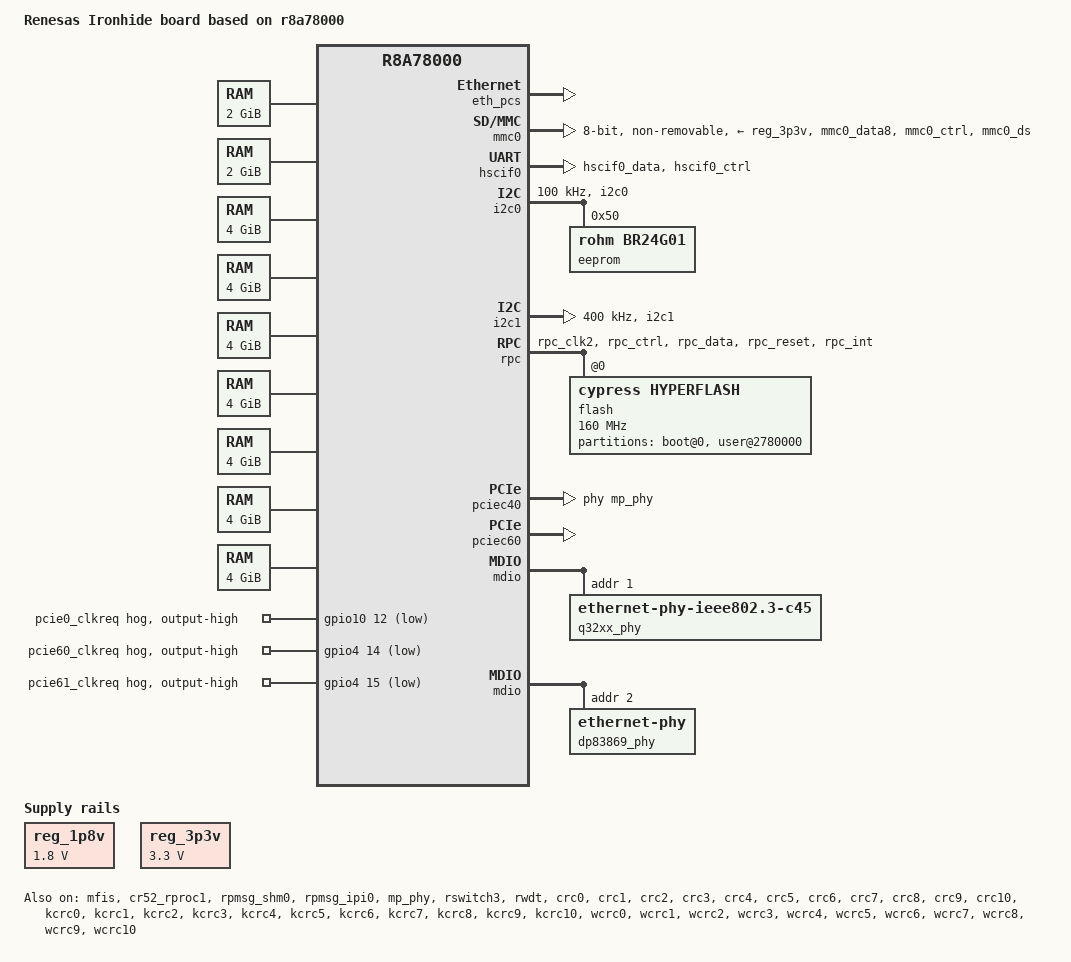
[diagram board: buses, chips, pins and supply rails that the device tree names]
// SPDX-License-Identifier: (GPL-2.0-only OR BSD-2-Clause)
/*
 * Device Tree Source for the Ironhide board
 *
 * Copyright (C) 2025 Renesas Electronics Corp.
 */

#include <dt-bindings/net/ti-dp83869.h>

/ {
	model = "Renesas Ironhide board based on r8a78000";
	compatible = "renesas,ironhide", "renesas,r8a78000";

	aliases {
		i2c0 = &i2c0;
		i2c1 = &i2c1;
		i2c2 = &i2c2;
		i2c3 = &i2c3;
		i2c4 = &i2c4;
		i2c5 = &i2c5;
		i2c6 = &i2c6;
		i2c7 = &i2c7;
		i2c8 = &i2c8;
		serial0 = &hscif0;
	};

	chosen {
		bootargs = "ignore_loglevel rw root=/dev/nfs ip=on";
		stdout-path = "serial0:1843200n8";
	};

	memory@40000000 {
		device_type = "memory";
		reg = <0x0 0x40000000 0x0 0x80000000>;
	};

	memory@1080000000 {
		device_type = "memory";
		reg = <0x10 0x80000000 0x0 0x80000000>;
	};

	memory@1200000000 {
		device_type = "memory";
		reg = <0x12 0x00000000 0x1 0x00000000>;
	};

	memory@1400000000 {
		device_type = "memory";
		reg = <0x14 0x00000000 0x1 0x00000000>;
	};

	memory@1600000000 {
		device_type = "memory";
		reg = <0x16 0x00000000 0x1 0x00000000>;
	};

	memory@1800000000 {
		device_type = "memory";
		reg = <0x18 0x00000000 0x1 0x00000000>;
	};

	memory@1a00000000 {
		device_type = "memory";
		reg = <0x1a 0x00000000 0x1 0x00000000>;
	};

	memory@1c00000000 {
		device_type = "memory";
		reg = <0x1c 0x00000000 0x1 0x00000000>;
	};

	memory@1e00000000 {
		device_type = "memory";
		reg = <0x1e 0x00000000 0x1 0x00000000>;
	};

	reserved-memory {
		#address-cells = <2>;
		#size-cells = <2>;
		ranges;

		ipl0: ipl0@40000000 {
			no-map;
			reg = <0x0 0x40000000 0x0 0x2b800000>;
		};

		frtos_app: frtos_app@6b800000 {
			no-map;
			reg = <0x0 0x6b800000 0x0 0x1f800000>;
		};

		ipl1: ipl1@8b000000 {
			no-map;
			reg = <0x0 0x8b000000 0x0 0x3400000>;
		};

		ldr: ldr@8e400000 {
			no-map;
			reg = <0x0 0x8e400000 0x0 0x100000>;
		};

		cr52_ram0: cr52_ram0@96600000 {
			no-map;
			reg = <0x0 0x96600000 0x0 0x50000>;
		};

		cr52_ram1: cr52_ram1@96650000 {
			no-map;
			reg = <0x0 0x96650000 0x0 0x50000>;
		};

		cr52_ram2: cr52_ram2@966a0000 {
			no-map;
			reg = <0x0 0x966a0000 0x0 0x50000>;
		};

		cr52_ca720_share: cr52_ca720_share@966f0000 {
			no-map;
			reg = <0x0 0x966f0000 0x0 0x7f10000>;
		};

		linux,cma@a2600000 {
			compatible = "shared-dma-pool";
			reusable;
			reg = <0x0 0xa2600000 0x0 0x1da00000>;
			linux,cma-default;
		};

		ecc_data_region@10cccc0000 {
			no-map;
			reg = <0x10 0xcccc0000 0x0 0x33340000>;
		};

		rt_vram: rt_vram@1200000000 {
			no-map;
			reg = <0x12 0x00000000 0x0 0x18000000>;
		};
		ecc_data_region@12cccc0000 {
			no-map;
			reg = <0x12 0xcccc0000 0x0 0x33340000>;
		};

		ecc_data_region@14cccc0000 {
			no-map;
			reg = <0x14 0xcccc0000 0x0 0x33340000>;
		};

		ecc_data_region@16cccc0000 {
			no-map;
			reg = <0x16 0xcccc0000 0x0 0x33340000>;
		};

		ecc_data_region@18cccc0000 {
			no-map;
			reg = <0x18 0xcccc0000 0x0 0x33340000>;
		};

		ecc_data_region@1acccc0000 {
			no-map;
			reg = <0x1a 0xcccc0000 0x0 0x33340000>;
		};

		ecc_data_region@1ccccc0000 {
			no-map;
			reg = <0x1c 0xcccc0000 0x0 0x33340000>;
		};

		ecc_data_region@1ecccc0000 {
			no-map;
			reg = <0x1e 0xcccc0000 0x0 0x33340000>;
		};
	};

	reg_1p8v: regulator-1p8v {
		compatible = "regulator-fixed";
		regulator-name = "fixed-1.8V";
		regulator-min-microvolt = <1800000>;
		regulator-max-microvolt = <1800000>;
		regulator-boot-on;
		regulator-always-on;
	};

	reg_3p3v: regulator-3p3v {
		compatible = "regulator-fixed";
		regulator-name = "fixed-3.3V";
		regulator-min-microvolt = <3300000>;
		regulator-max-microvolt = <3300000>;
		regulator-boot-on;
		regulator-always-on;
	};
};

&mailbox {
	status = "okay";
};

&eth_pcs {
	status = "okay";

	ports {
		#address-cells = <1>;
		#size-cells = <0>;

		port@4 {
			reg = <4>;
			phys = <&mp_phy 2 0>;
		};

		port@5 {
			reg = <5>;
			phys = <&mp_phy 2 1>;
		};
	};
};

&mmc0 {
	pinctrl-0 = <&mmc0_pins>;
	pinctrl-1 = <&mmc0_pins>;
	pinctrl-names = "default", "state_uhs";

	vmmc-supply = <&reg_3p3v>;
	vqmmc-supply = <&reg_1p8v>;
	mmc-hs200-1_8v;
	mmc-hs400-1_8v;
	bus-width = <8>;
	no-sd;
	no-sdio;
	non-removable;
	full-pwr-cycle-in-suspend;
	status = "okay";
};

&extal_clk {
	clock-frequency = <16666666>;
};

&extalr_clk {
	clock-frequency = <32768>;
};

&hscif0 {
	pinctrl-0 = <&hscif0_pins>;
	pinctrl-names = "default";

	uart-has-rtscts;
	/* Please use exclusively to the scif0 node */
	status = "okay";
};

&scif_clk {
	clock-frequency = <26000000>;
};

&gpio10 {
	pcie0_clkreq {
		gpio-hog;
		gpios = <12 1>;
		output-high;
	};
};

&gpio4 {
	pcie60_clkreq {
		gpio-hog;
		gpios = <14 1>;
		output-high;
	};

	pcie61_clkreq {
		gpio-hog;
		gpios = <15 1>;
		output-high;
	};

};

&i2c0 {
	pinctrl-0 = <&i2c0_pins>;
	pinctrl-names = "default";

	status = "okay";
	clock-frequency = <100000>;

	eeprom@50 {
		compatible = "rohm,br24g01", "atmel,24c01";
		reg = <0x50>;
		pagesize = <8>;
	};
};

&mfis {
	renesas,mfis-channels = <1>;
	status = "okay";
};

&cr52_rproc1 {
	memory-region = <&cr52_ram1>;
	status = "okay";
};

&rpmsg_shm0 {
	status = "okay";
};

&rpmsg_ipi0 {
	status = "okay";
};

&i2c1 {
	pinctrl-0 = <&i2c1_pins>;
	pinctrl-names = "default";

	status = "okay";
	clock-frequency = <400000>;
};

&mp_phy {
	status = "okay";
};

&pfc {
	eth25g2_pins: eth25g2 {
		groups = "eth25g2_mdio", "eth25g2_link", "eth25g2_phyint";
		function = "eth25g2";
		drive-strength = <24>;
	};

	ethes0_pins: ethes0 {
		groups = "ethes0_match", "ethes0_capture", "ethes0_pps";
		function = "ethes0";
		drive-strength = <24>;
	};

	hscif0_pins: hscif0 {
		groups = "hscif0_data", "hscif0_ctrl";
		function = "hscif0";
	};

	i2c0_pins: i2c0 {
		groups = "i2c0";
		function = "i2c0";
	};

	i2c1_pins: i2c1 {
		groups = "i2c1";
		function = "i2c1";
	};

	rsw3_pins: rsw3 {
		groups = "rsw3_match", "rsw3_capture", "rsw3_pps";
		function = "rsw3";
		drive-strength = <24>;
	};

	pcie40_pins: pcie40 {
		groups = "pcie40_clkreq_n";
		function = "pcie4";
	};

	msiof0_pins: msiof0 {
		groups = "msiof0_clk", "msiof0_sync", "msiof0_txd", "msiof0_rxd",
			"msiof0_ss1", "msiof0_ss2";
		function = "msiof0";
	};

	msiof6_pins: msiof6 {
		groups = "msiof6_clk_a", "msiof6_txd_a", "msiof6_rxd_a",
			"msiof6_ss1_a", "msiof6_ss2_a";
		function = "msiof6";
	};

	rpc_pins: rpc {
		groups = "rpc_clk2", "rpc_ctrl", "rpc_data",
			 "rpc_reset", "rpc_int";
		function = "rpc";
	};

	mmc0_pins: mmc0 {
		groups = "mmc0_data8", "mmc0_ctrl", "mmc0_ds";
		function = "mmc0";
		drive-strength = <24>;
	};
};

&rpc {
	pinctrl-0 = <&rpc_pins>;
	pinctrl-names = "default";

	status = "okay";

	flash@0 {
		compatible = "cypress,hyperflash", "cfi-flash";
		reg = <0>;
		spi-max-frequency = <160000000>;
		spi-rx-bus-width = <4>;
		spi-tx-bus-width = <1>;

		partitions {
			compatible = "fixed-partitions";
			#address-cells = <1>;
			#size-cells = <1>;

			boot@0 {
				reg = <0x0 0x1200000>;
				read-only;
			};

			user@2780000 {
				reg = <0x2780000 0x01880000>;
			};
		};
	};
};

&pciec40 {
	status = "okay";
	phys = <&mp_phy 0 1>;
};

&pciec60 {
	status = "okay";
};

&pciec60_ep {
	status = "disabled";
};

&pciec61_ep {
	status = "disabled";
};

&rsw3_clk {
	clock-frequency = <66660000>;
};

&rswitch3 {
	status = "okay";
	pinctrl-0 = <&rsw3_pins>, <&eth25g2_pins>, <&ethes0_pins>;
	pinctrl-names = "default";

	ethernet-ports {
		#address-cells = <1>;
		#size-cells = <0>;

		// TODO: Add more ports (e.g., port@0, port@1) as needed
		port@4 {
			reg = <4>;
			renesas,etha-mii-chan = <4>;
			phy-handle = <&q32xx_phy>;
			phy-mode = "usxgmii";
			phys = <&eth_pcs 4>;
			max-speed = <10000>;

			mdio {
				#address-cells = <1>;
				#size-cells = <0>;
				q32xx_phy: ethernet-phy@1 {
					reg = <1>;
					compatible = "ethernet-phy-ieee802.3-c45";
				};
			};
		};

		port@5 {
			reg = <5>;
			renesas,etha-mii-chan = <4>;
			renesas,connect_to_xpcs;
			phy-handle = <&dp83869_phy>;
			phy-mode = "sgmii";
			phys = <&eth_pcs 5>;

			mdio {
				#address-cells = <1>;
				#size-cells = <0>;
				dp83869_phy: ethernet-phy@2 {
					reg = <2>;
					ti,sgmii-interface;
					ti,max-output-impedance;
					ti,refclk-output-enable;
					ti,clk-output-sel = <DP83869_CLK_O_SEL_REF_CLK>;
				};
			};
		};

		/* Example stub for future ports */
		//	port@5 {
		//	reg = <5>;
		//	phy-handle = <&mv_phy5>;
		//	phy-mode = "usxgmii";
		//	local-mac-address = [xx xx xx xx xx xx];
		//	phys = <&eth_pcs X>;
		//	...
		// };
	};
};

&rwdt {
	timeout-sec = <60>;
	status = "okay";
};

&crc0 {
	status = "okay";
};

&crc1 {
	status = "okay";
};

&crc2 {
	status = "okay";
};

&crc3 {
	status = "okay";
};

&crc4 {
	status = "okay";
};

&crc5 {
	status = "okay";
};

&crc6 {
	status = "okay";
};

&crc7 {
	status = "okay";
};

&crc8 {
	status = "okay";
};

&crc9 {
	status = "okay";
};

&crc10 {
	status = "okay";
};

&kcrc0 {
	status = "okay";
};

&kcrc1 {
	status = "okay";
};

&kcrc2 {
	status = "okay";
};

&kcrc3 {
	status = "okay";
};

&kcrc4 {
	status = "okay";
};

&kcrc5 {
	status = "okay";
};

&kcrc6 {
	status = "okay";
};

&kcrc7 {
	status = "okay";
};

&kcrc8 {
	status = "okay";
};

&kcrc9 {
	status = "okay";
};

&kcrc10 {
	status = "okay";
};

&wcrc0 {
	status = "okay";
};

&wcrc1 {
	status = "okay";
};

&wcrc2 {
	status = "okay";
};

&wcrc3 {
	status = "okay";
};

&wcrc4 {
	status = "okay";
};

&wcrc5 {
	status = "okay";
};

&wcrc6 {
	status = "okay";
};

&wcrc7 {
	status = "okay";
};

&wcrc8 {
	status = "okay";
};

&wcrc9 {
	status = "okay";
};

&wcrc10 {
	status = "okay";
};

&ufs0 {
	status = "okay";
};

&ufs1 {
	status = "okay";
};

&ufs0_clk {
	clock-frequency = <38400000>;
};

&ufs1_clk {
	clock-frequency = <38400000>;
};
